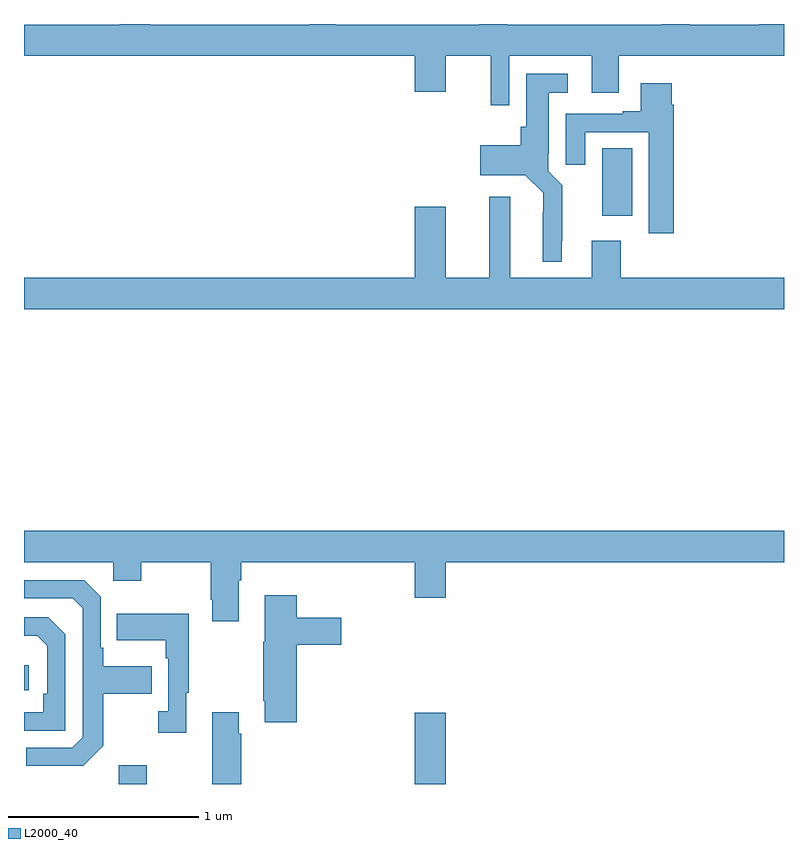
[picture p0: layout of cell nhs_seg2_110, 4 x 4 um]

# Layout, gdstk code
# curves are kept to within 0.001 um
import gdstk
lib = gdstk.Library(unit=1e-6, precision=1e-09)
def R(c, l, rs):  # rectangles x0, y0, x1, y1
    for r in rs: c.add(gdstk.rectangle(r[:2], r[2:], *l))
def P(c, l, *ps):  # polygons
    for p in ps: c.add(gdstk.Polygon(p, *l))
L2000_40 = (2000, 40)

nhs_seg2_110 = lib.new_cell('nhs_seg2_110')
R(nhs_seg2_110, L2000_40, [(115.499,647.8,115.647,647.899), (117.056,647.8,117.22,648.175), (115,648.294,115.024,648.424), (118.043,650.79,118.201,651.146)])
P(nhs_seg2_110, L2000_40, [(117.555,651.632),(117.989,651.632),(117.989,651.438),(118.129,651.438),(118.129,651.632),(119,651.632),(119,651.8),(118.87,651.8),(118.87,651.796),(118.503,651.796),(118.503,651.8),(118.356,651.8),(118.356,651.796),(117.543,651.796),(117.543,651.8),(117.395,651.8),(117.395,651.796),(116.641,651.796),(116.641,651.8),(116.501,651.8),(116.501,651.796),(115.665,651.796),(115.665,651.8),(115.505,651.8),(115.505,651.796),(115,651.796),(115,651.632),(117.056,651.632),(117.056,651.444),(117.22,651.444),(117.22,651.632),(117.457,651.632),(117.457,651.372),(117.555,651.372)],
  [(117.829,650.659),(117.832,650.659),(117.832,650.951),(117.759,651.024),(117.759,651.118),(117.763,651.118),(117.763,651.437),(117.862,651.437),(117.862,651.538),(117.644,651.538),(117.644,651.258),(117.614,651.258),(117.614,651.163),(117.402,651.163),(117.402,651.005),(117.639,651.005),(117.732,650.912),(117.731,650.549),(117.829,650.549)],
  [(118.421,651.374),(118.408,651.374),(118.408,651.487),(118.247,651.487),(118.247,651.34),(118.151,651.34),(118.151,651.327),(117.851,651.327),(117.851,651.06),(117.955,651.06),(117.955,651.231),(118.289,651.231),(118.289,650.7),(118.421,650.7)],
  [(119,650.464),(118.142,650.464),(118.142,650.659),(117.989,650.659),(117.989,650.464),(117.559,650.464),(117.559,650.89),(117.449,650.89),(117.449,650.464),(117.22,650.464),(117.22,650.839),(117.056,650.839),(117.056,650.464),(115,650.464),(115,650.3),(119,650.3)],
  [(116.131,648.872),(116.144,648.872),(116.144,648.968),(117.056,648.968),(117.056,648.78),(117.22,648.78),(117.22,648.968),(119,648.968),(119,649.132),(115,649.132),(115,648.968),(115.47,648.968),(115.47,648.869),(115.617,648.869),(115.617,648.968),(115.984,648.968),(115.984,648.769),(115.991,648.769),(115.991,648.657),(116.131,648.657)],
  [(115.417,648.001),(115.417,648.274),(115.673,648.274),(115.673,648.421),(115.417,648.421),(115.417,648.517),(115.404,648.517),(115.404,648.786),(115.317,648.873),(115,648.873),(115,648.777),(115.257,648.777),(115.308,648.726),(115.308,648.045),(115.254,647.991),(115.011,647.991),(115.011,647.895),(115.311,647.895)],
  [(116.435,648.533),(116.671,648.533),(116.671,648.675),(116.435,648.675),(116.435,648.793),(116.267,648.793),(116.267,648.549),(116.26,648.549),(116.26,648.238),(116.267,648.238),(116.267,648.126),(116.435,648.126)],
  [(115.855,648.281),(115.867,648.281),(115.867,648.697),(115.489,648.697),(115.489,648.557),(115.746,648.557),(115.746,648.461),(115.758,648.461),(115.758,648.182),(115.707,648.182),(115.707,648.069),(115.855,648.069)],
  [(115.218,648.588),(115.128,648.678),(115,648.678),(115,648.581),(115.069,648.581),(115.122,648.528),(115.122,648.274),(115.102,648.274),(115.102,648.177),(115,648.177),(115,648.081),(115.218,648.081)],
  [(116.144,648.065),(116.131,648.065),(116.131,648.178),(115.991,648.178),(115.991,647.8),(116.144,647.8)])

lib.write_gds('nhs_seg2_110.gds')
